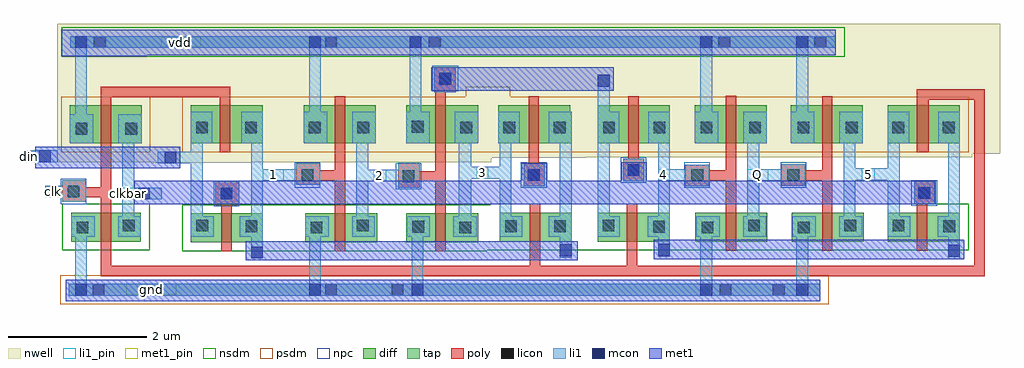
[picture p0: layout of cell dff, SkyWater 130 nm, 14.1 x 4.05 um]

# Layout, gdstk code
import gdstk
lib = gdstk.Library(unit=1e-6, precision=1e-09)
def R(c, l, rs):  # rectangles x0, y0, x1, y1
    for r in rs: c.add(gdstk.rectangle(r[:2], r[2:], *l))
def A(c, l, x, y, w, h, nx, ny, dx, dy):  # array of equal rectangles
    R(c, l, [(x+i*dx, y+j*dy, x+i*dx+w, y+j*dy+h) for i in range(nx) for j in range(ny)])
nwell = (64, 20)
diff = (65, 20)
tap = (65, 44)
poly = (66, 20)
licon = (66, 44)
li1_pin = (67, 16)
li1 = (67, 20)
mcon = (67, 44)
met1_pin = (68, 16)
met1 = (68, 20)
nsdm = (93, 44)
psdm = (94, 20)
npc = (95, 20)

dff = lib.new_cell('dff')
R(dff, nwell, [(-6.24,0.25,-4.81,0.26), (-7.61,0.26,-1.34,0.31), (-7.61,0.31,-1.33,0.32), (-7.61,0.32,0.02,0.33), (-7.61,0.33,5.61,0.38), (-7.61,0.38,6.01,2.26)])
A(dff, diff, 1.61, -0.89, 1.04, 0.42, 3, 1, 1.39, 0)
R(dff, diff, [(-5.68,-0.9,-4.64,-0.48), (-4.03,-0.9,-2.99,-0.48), (-2.57,-0.9,-1.53,-0.48), (-7.41,-0.89,-6.4,-0.47), (-1.22,-0.89,-0.18,-0.47), (0.2,-0.89,1.24,-0.47), (-7.43,0.53,-6.39,1.08), (-5.68,0.53,-4.64,1.08), (-4.05,0.53,-3.01,1.08), (-2.57,0.53,-1.53,1.08), (-1.24,0.53,-0.18,0.99), (0.2,0.53,1.24,1.08), (1.6,0.53,2.64,1.08), (2.99,0.53,4.03,1.08), (4.39,0.53,5.43,1.08), (-1.24,0.99,-0.2,1.08)])
R(dff, tap, [(-7.44,-1.67,3.41,-1.5), (-7.42,1.91,3.64,2.08)])
R(dff, poly, [(-6.98,-1.39,5.79,-1.24), (-6.98,-1.24,-6.83,-0.25), (-0.78,-1.24,-0.63,-0.34), (0.62,-1.24,0.77,-0.34), (5.64,-1.24,5.79,1.16), (-5.24,-1.03,-5.09,-0.35), (-3.6,-1.03,-3.45,-0.01), (-2.15,-1.03,-2,-0.02), (2.05,-1.02,2.2,-0.01), (3.44,-1.02,3.59,-0.01), (4.81,-1.02,4.96,-0.35), (-5.33,-0.35,-4.98,-0.02), (4.77,-0.35,5.07,-0.02), (-7.54,-0.31,-7.19,-0.25), (-7.54,-0.25,-6.83,-0.1), (-2.68,-0.11,-2.37,-0.02), (-7.54,-0.1,-7.19,0), (-6.98,-0.1,-6.83,1.2), (-0.87,-0.09,-0.57,0.24), (1.46,-0.09,1.81,-0.01), (2.85,-0.08,3.2,-0.01), (-4.16,-0.07,-3.81,-0.01), (-2.68,-0.02,-2,0.13), (0.57,-0.02,0.87,0.31), (-4.16,-0.01,-3.45,0.14), (1.46,-0.01,2.2,0.14), (2.85,-0.01,3.59,0.14), (-2.68,0.13,-2.37,0.25), (-2.15,0.13,-2,1.27), (-4.16,0.14,-3.81,0.24), (-3.6,0.14,-3.45,1.21), (1.46,0.14,1.81,0.22), (2.05,0.14,2.2,1.22), (2.85,0.14,3.2,0.23), (3.44,0.14,3.59,1.21), (-0.8,0.24,-0.65,1.21), (0.64,0.31,0.79,1.21), (-5.26,0.4,-5.11,1.2), (4.81,0.4,4.98,1.16), (4.81,1.16,5.79,1.31), (-6.98,1.2,-5.11,1.35), (-2.16,1.27,-1.85,1.63)])
A(dff, licon, 1.685, 0.675, 0.17, 0.17, 4, 1, 0.7, 0)
R(dff, licon, [(-7.1,-1.67,-6.93,-1.5), (-3.74,-1.67,-3.57,-1.5), (-2.78,-1.67,-2.61,-1.5), (1.96,-1.67,2.13,-1.5), (2.73,-1.67,2.9,-1.5), (-7.33,-0.77,-7.16,-0.6), (-3.95,-0.77,-3.78,-0.6), (-1.8,-0.77,-1.63,-0.6), (1.7,-0.77,1.87,-0.6), (3.09,-0.77,3.26,-0.6), (-2.48,-0.76,-2.31,-0.59), (1,-0.76,1.17,-0.59), (-4.89,-0.75,-4.72,-0.58), (-1.14,-0.75,-0.97,-0.58), (-0.43,-0.75,-0.26,-0.58), (5.19,-0.75,5.36,-0.58), (-6.66,-0.74,-6.49,-0.57), (-5.6,-0.74,-5.43,-0.57), (-3.28,-0.74,-3.11,-0.57), (0.27,-0.74,0.44,-0.57), (2.37,-0.74,2.54,-0.57), (3.76,-0.74,3.93,-0.57), (4.46,-0.74,4.63,-0.57), (-5.25,-0.28,-5.08,-0.11), (4.83,-0.27,5,-0.1), (-7.46,-0.25,-7.29,-0.08), (-2.62,-0.03,-2.45,0.14), (-4.08,-0.01,-3.91,0.16), (-0.81,-0.01,-0.64,0.16), (1.55,-0.01,1.72,0.16), (2.94,-0.01,3.11,0.16), (0.63,0.06,0.8,0.23), (-7.345,0.655,-7.175,0.825), (-6.625,0.655,-6.455,0.825), (-5.605,0.675,-5.435,0.845), (-4.895,0.675,-4.725,0.845), (-3.975,0.675,-3.805,0.845), (-3.275,0.675,-3.105,0.845), (-1.785,0.675,-1.615,0.845), (-1.165,0.675,-0.995,0.845), (-0.435,0.675,-0.265,0.845), (0.275,0.675,0.445,0.845), (1.005,0.675,1.175,0.845), (4.455,0.675,4.625,0.845), (5.185,0.675,5.355,0.845), (-2.485,0.685,-2.315,0.855), (-2.09,1.38,-1.92,1.55), (-7.08,1.91,-6.91,2.08), (-3.74,1.91,-3.57,2.08), (-2.24,1.91,-2.07,2.08), (1.94,1.91,2.11,2.08), (3.33,1.91,3.5,2.08)])
R(dff, li1_pin, [(-6.67,-0.28,-6.49,-0.11), (-7.77,-0.24,-7.55,-0.09), (-3.04,-0.02,-2.86,0.15), (-4.64,-0.01,-4.34,0.16), (1.07,-0.01,1.24,0.16), (2.36,-0.01,2.66,0.16), (4.01,0,4.2,0.17), (-1.55,0.02,-1.38,0.19), (-8.08,0.27,-7.94,0.42)])
R(dff, li1, [(-7.44,-1.67,3.41,-1.5), (-7.35,-1.5,-7.18,-0.82), (-3.97,-1.5,-3.8,-0.82), (-2.49,-1.5,-2.32,-0.82), (1.68,-1.5,1.85,-0.82), (3.07,-1.5,3.24,-0.82), (5.26,-1.14,5.43,-0.82), (-4.81,-1.13,-4.64,-0.82), (-0.35,-1.12,-0.18,-0.82), (1.07,-1.11,1.24,-0.82), (-7.41,-0.82,-7.07,-0.52), (-6.73,-0.82,-6.4,-0.52), (-5.68,-0.82,-5.35,-0.52), (-4.97,-0.82,-4.64,-0.52), (-4.03,-0.82,-3.69,-0.52), (-3.35,-0.82,-3.02,-0.52), (-2.56,-0.82,-2.23,-0.52), (-1.89,-0.82,-1.55,-0.52), (-1.22,-0.82,-0.89,-0.52), (-0.51,-0.82,-0.18,-0.52), (0.2,-0.82,0.52,-0.52), (0.92,-0.82,1.24,-0.52), (1.62,-0.82,1.96,-0.52), (2.3,-0.82,2.63,-0.52), (3.01,-0.82,3.35,-0.52), (3.69,-0.82,4.02,-0.52), (4.39,-0.82,4.71,-0.52), (5.11,-0.82,5.43,-0.52), (-6.67,-0.52,-6.5,-0.28), (-5.68,-0.52,-5.51,0.24), (-4.81,-0.52,-4.64,-0.01), (-3.29,-0.52,-3.12,-0.02), (-1.81,-0.52,-1.63,0.02), (-1.22,-0.52,-1.05,0.02), (-0.35,-0.52,-0.18,0.53), (0.2,-0.52,0.37,0.53), (1.07,-0.52,1.24,-0.01), (2.36,-0.52,2.53,-0.01), (3.75,-0.52,3.92,0), (4.39,-0.52,4.56,0), (5.26,-0.52,5.43,0.53), (-5.33,-0.35,-4.98,-0.02), (4.77,-0.35,5.07,-0.02), (-7.54,-0.31,-7.19,-0.25), (-6.67,-0.28,-6.1,-0.11), (-7.78,-0.25,-7.19,-0.08), (-6.67,-0.11,-6.5,0.53), (-2.68,-0.11,-2.37,-0.02), (-0.87,-0.09,-0.57,0.24), (1.46,-0.09,1.81,-0.01), (-7.54,-0.08,-7.19,0), (2.85,-0.08,3.2,-0.01), (-4.16,-0.07,-3.81,-0.01), (-3.29,-0.02,-2.37,0.15), (0.57,-0.02,0.87,0.31), (-4.81,-0.01,-3.81,0.16), (1.07,-0.01,1.81,0.16), (2.36,-0.01,3.2,0.16), (3.75,0,4.56,0.17), (-1.81,0.02,-1.05,0.19), (-3.29,0.15,-3.12,0.53), (-2.68,0.15,-2.37,0.25), (-4.81,0.16,-4.64,0.53), (-4.16,0.16,-3.81,0.24), (1.07,0.16,1.24,0.53), (1.46,0.16,1.81,0.22), (2.36,0.16,2.53,0.53), (2.85,0.16,3.2,0.23), (3.75,0.17,3.92,0.53), (4.39,0.17,4.56,0.53), (-1.81,0.19,-1.63,0.53), (-1.22,0.19,-1.05,0.53), (-6.16,0.24,-5.51,0.41), (-8.09,0.26,-7.6,0.43), (-5.68,0.41,-5.51,0.53), (-7.43,0.53,-7.09,0.95), (-6.73,0.53,-6.39,0.95), (-5.68,0.53,-5.37,0.99), (-4.95,0.53,-4.64,0.99), (-4.05,0.53,-3.71,0.99), (-3.35,0.53,-3.01,0.99), (-2.57,0.53,-2.23,0.99), (-1.87,0.53,-1.53,0.99), (-1.24,0.53,-0.93,0.99), (-0.51,0.53,-0.18,0.99), (0.2,0.53,0.51,0.99), (0.93,0.53,1.24,0.99), (1.6,0.53,1.94,0.99), (2.3,0.53,2.64,0.99), (2.99,0.53,3.33,0.99), (3.69,0.53,4.03,0.99), (4.39,0.53,4.7,0.99), (5.12,0.53,5.43,0.99), (-7.35,0.95,-7.18,1.91), (-3.97,0.99,-3.8,1.91), (-2.52,0.99,-2.35,1.91), (0.2,0.99,0.37,1.52), (1.68,0.99,1.85,1.91), (3.07,0.99,3.24,1.91), (-2.16,1.27,-1.85,1.63), (-7.42,1.91,3.64,2.08)])
R(dff, mcon, [(-7.35,-1.67,-7.18,-1.5), (-3.97,-1.67,-3.8,-1.5), (-2.49,-1.67,-2.32,-1.5), (1.68,-1.67,1.85,-1.5), (3.07,-1.67,3.24,-1.5), (-4.81,-1.13,-4.64,-0.96), (5.26,-1.105,5.43,-0.935), (-0.35,-1.1,-0.18,-0.93), (1.07,-1.09,1.24,-0.92), (-6.44,-0.28,-6.27,-0.11), (-5.25,-0.28,-5.08,-0.11), (4.83,-0.27,5,-0.1), (-0.81,-0.01,-0.64,0.16), (0.63,0.06,0.8,0.23), (-6.06,0.24,-5.89,0.41), (-7.87,0.26,-7.7,0.43), (0.2,1.35,0.37,1.52), (-2.09,1.38,-1.92,1.55), (-7.35,1.91,-7.18,2.08), (-3.97,1.91,-3.8,2.08), (-2.52,1.91,-2.35,2.08), (1.68,1.91,1.85,2.08), (3.07,1.91,3.24,2.08)])
R(dff, met1_pin, [(-6.61,-1.66,-5.89,-1.5), (-6.11,1.92,-5.54,2.07)])
R(dff, met1, [(-7.49,-1.75,3.41,-1.44), (-4.89,-1.16,-0.09,-0.88), (1.01,-1.14,5.49,-0.86), (-6.5,-0.35,5.08,-0.01), (-0.9,-0.01,-0.53,0.24), (0.54,-0.01,0.91,0.26), (-7.93,0.17,-5.83,0.48), (-2.21,1.29,0.43,1.63), (-7.55,1.79,-6.32,1.8), (-7.55,1.8,3.64,2.17)])
R(dff, nsdm, [(-5.805,-1.025,-1.405,-1.015), (-7.535,-1.015,-6.275,-0.345), (-5.805,-1.015,5.555,-0.355), (-1.345,-0.355,5.555,-0.345), (-7.545,1.785,3.765,2.205)])
R(dff, psdm, [(-7.565,-1.795,3.535,-1.375), (-7.555,0.405,-6.265,1.205), (-5.805,0.405,5.555,1.205), (-1.705,1.205,-1.065,1.35)])
R(dff, npc, [(-5.35,-0.38,-4.98,-0.01), (4.73,-0.37,5.1,0), (-7.56,-0.35,-7.19,0.02), (-2.72,-0.13,-2.35,0.24), (-4.18,-0.11,-3.81,0.26), (-0.91,-0.11,-0.54,0.26), (1.45,-0.11,1.82,0.26), (2.84,-0.11,3.21,0.26), (0.53,-0.04,0.9,0.33), (-2.19,1.28,-1.82,1.65)])
dff.add(gdstk.Label('clkbar', (-6.58,-0.195), layer=67, texttype=16))
dff.add(gdstk.Label('2', (-2.95,0.065), layer=67, texttype=16))
dff.add(gdstk.Label('3', (-1.465,0.105), layer=67, texttype=16))
dff.add(gdstk.Label('4', (1.155,0.075), layer=67, texttype=16))
dff.add(gdstk.Label('5', (4.105,0.085), layer=67, texttype=16))
dff.add(gdstk.Label('vdd', (-5.825,1.995), layer=68, texttype=16))
dff.add(gdstk.Label('gnd', (-6.25,-1.58), layer=68, texttype=16))
dff.add(gdstk.Label('din', (-8.01,0.345), layer=67, texttype=16))
dff.add(gdstk.Label('Q', (2.51,0.075), layer=67, texttype=16))
dff.add(gdstk.Label('clk', (-7.66,-0.165), layer=67, texttype=16))
dff.add(gdstk.Label('1', (-4.49,0.075), layer=67, texttype=16))

lib.write_gds('dff.gds')
